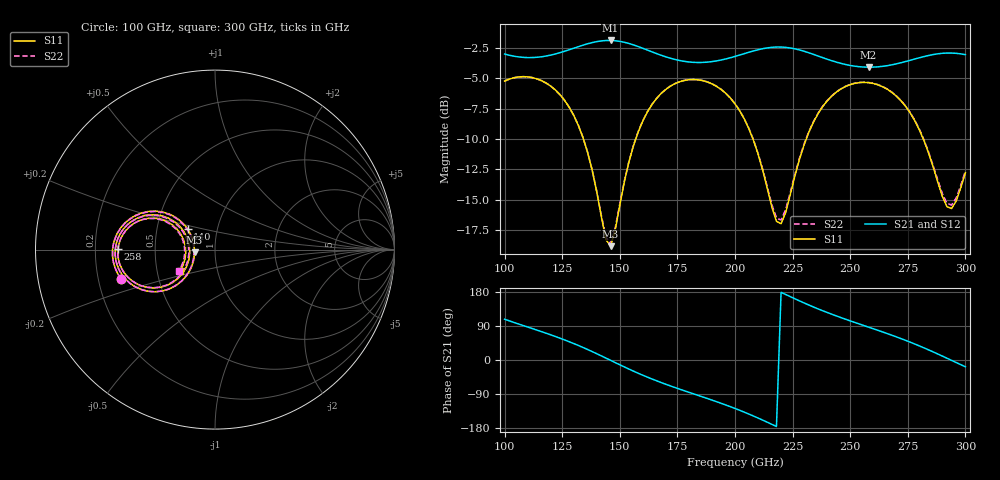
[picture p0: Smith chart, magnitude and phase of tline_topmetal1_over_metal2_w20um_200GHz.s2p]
#  GHZ S DB R 50
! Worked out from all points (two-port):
!   101 points, 100 GHz to 300 GHz, reference 50 ohm
!   highest |S21| = -1.86 dB at 146 GHz (marker M1); lowest = -4.1 dB at 258 GHz (marker M2)
!   |S21| within 3 dB of the highest: start of sweep to end of sweep
!   lowest |S11| = -18.8 dB at 146 GHz (marker M3), VSWR 1.26, Z = 39.8 - j1.16 ohm
!   |S11| at or under -10 dB: 134.2 GHz to 156.9 GHz (22.71 GHz wide, 15.6 % of centre); 207.8 GHz to 230.9 GHz (23.13 GHz wide, 10.5 % of centre); 281.7 GHz to end of sweep
!   |S22| runs from -18.6 to -4.9 dB; largest |S21 - S12| = 1.3e-13
!   S11 on the Smith chart (normalised r, x): 100 GHz: 0.30, -0.14; 140 GHz: 0.72, +0.17; 258 GHz: 0.30, +0.00; 300 GHz: 0.66, -0.16
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100  -5.22 -162.8  -2.99 107.6  -2.99 107.6  -5.22 -162.7
116  -5.18 170.1  -3.21 74.9  -3.21 74.9  -5.18 170.4
126  -6.80 153.5  -2.76 53.1  -2.76 53.1  -6.79 153.8
134  -9.87 142.0  -2.25 33.2  -2.25 33.2  -9.86 142.6
140  -14.36 142.8  -1.96 16.6  -1.96 16.6  -14.30 143.7
144  -18.29 164.9  -1.87 5.0  -1.87 5.0  -18.11 165.7
146  -18.83 -172.8  -1.86 -0.9  -1.86 -0.9  -18.61 -172.6
156  -10.51 -137.4  -2.24 -29.6  -2.24 -29.6  -10.47 -137.7
168  -6.23 -154.7  -3.09 -59.6  -3.09 -59.6  -6.21 -154.7
184  -5.11 179.5  -3.68 -93.4  -3.68 -93.4  -5.10 179.7
200  -7.09 154.9  -3.18 -127.9  -3.18 -127.9  -7.08 155.4
210  -11.23 145.4  -2.63 -153.1  -2.63 -153.1  -11.17 146.3
218  -16.79 171.0  -2.41 -175.6  -2.41 -175.6  -16.51 171.7
220  -16.98 -172.6  -2.41 178.7  -2.41 178.7  -16.68 -172.6
234  -8.62 -145.4  -3.01 140.1  -3.01 140.1  -8.58 -145.9
244  -6.13 -159.4  -3.65 116.3  -3.65 116.3  -6.10 -159.6
258  -5.35 179.6  -4.07 86.7  -4.07 86.7  -5.33 179.6
268  -6.14 165.0  -3.88 65.5  -3.88 65.5  -6.11 165.2
280  -9.23 150.7  -3.29 37.2  -3.29 37.2  -9.18 151.3
292  -15.58 173.2  -2.90 4.7  -2.90 4.7  -15.30 173.5
296  -15.11 -162.3  -2.93 -6.7  -2.93 -6.7  -14.86 -163.1
300  -12.77 -148.8  -3.04 -17.8  -3.04 -17.8  -12.63 -149.9
